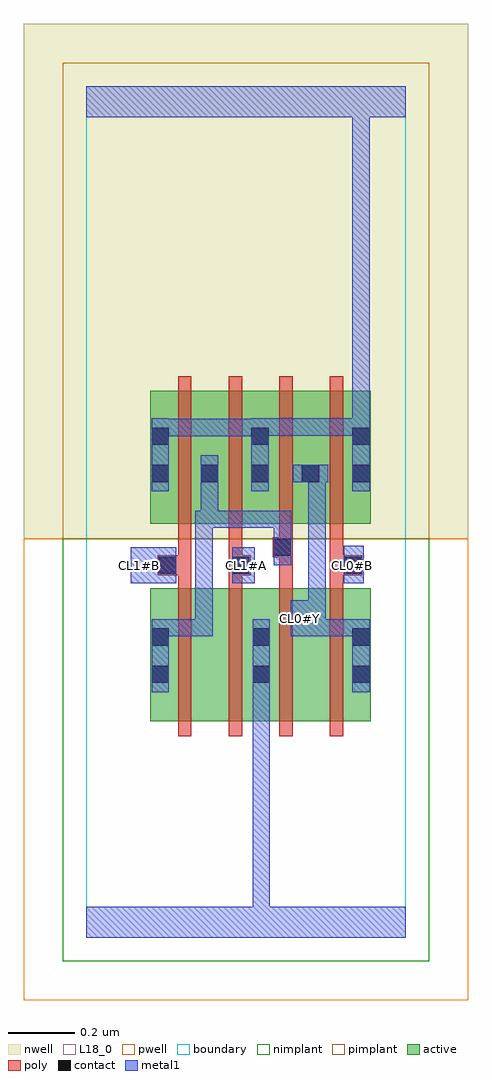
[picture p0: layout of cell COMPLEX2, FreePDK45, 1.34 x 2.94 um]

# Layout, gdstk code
import gdstk
lib = gdstk.Library(unit=1e-6, precision=1e-09)
def R(c, l, rs):  # rectangles x0, y0, x1, y1
    for r in rs: c.add(gdstk.rectangle(r[:2], r[2:], *l))
def A(c, l, x, y, w, h, nx, ny, dx, dy):  # array of equal rectangles
    R(c, l, [(x+i*dx, y+j*dy, x+i*dx+w, y+j*dy+h) for i in range(nx) for j in range(ny)])
active = (1, 0)
pwell = (2, 0)
nwell = (3, 0)
nimplant = (4, 0)
pimplant = (5, 0)
poly = (9, 0)
contact = (10, 0)
metal1 = (11, 0)
L18_0 = (18, 0)
boundary = (235, 0)

complex2 = lib.new_cell('COMPLEX2')
A(complex2, active, 0.34, 1.244, 0.06, 0.4, 4, 1, 0.152, 0)
A(complex2, active, 0.34, 1.244, 0.212, 0.4, 3, 1, 0.152, 0)
R(complex2, active, [(0.192,0.65,0.372,1.05), (0.372,0.65,0.556,1.05), (0.496,0.65,0.676,1.05), (0.676,0.65,0.856,1.05), (0.192,0.756,0.252,1.05), (0.496,0.756,0.556,0.934), (0.796,0.756,0.856,1.05), (0.192,1.244,0.252,1.644), (0.192,1.244,0.4,1.644)])
R(complex2, pwell, [(-0.188,-0.188,1.148,1.2)])
R(complex2, nwell, [(-0.188,1.2,1.148,2.748)])
R(complex2, nimplant, [(-0.072,-0.072,1.032,1.2)])
R(complex2, pimplant, [(-0.072,1.2,1.032,2.632)])
A(complex2, poly, 0.276, 0.606, 0.04, 0.488, 4, 2, 0.152, 0.594)
R(complex2, poly, [(0.276,1.054,0.316,1.13), (0.428,1.054,0.468,1.13), (0.58,1.054,0.62,1.184), (0.732,1.054,0.772,1.13), (0.214,1.09,0.316,1.15), (0.276,1.09,0.316,1.13), (0.276,1.09,0.316,1.13), (0.428,1.09,0.494,1.15), (0.732,1.09,0.772,1.13), (0.732,1.09,0.772,1.13), (0.732,1.09,0.83,1.15), (0.276,1.11,0.316,1.24), (0.428,1.11,0.468,1.24), (0.428,1.11,0.468,1.15), (0.428,1.11,0.468,1.15), (0.732,1.11,0.772,1.24), (0.56,1.144,0.62,1.204), (0.58,1.144,0.62,1.184), (0.58,1.144,0.62,1.184), (0.58,1.164,0.62,1.24)])
A(complex2, contact, 0.344, 1.37, 0.052, 0.052, 4, 1, 0.152, 0)
R(complex2, contact, [(0.196,0.766,0.248,0.818), (0.5,0.766,0.552,0.818), (0.8,0.766,0.852,0.818), (0.196,0.878,0.248,0.93), (0.5,0.878,0.552,0.93), (0.8,0.878,0.852,0.93), (0.218,1.094,0.27,1.146), (0.438,1.094,0.49,1.146), (0.774,1.094,0.826,1.146), (0.564,1.148,0.616,1.2), (0.196,1.37,0.248,1.422), (0.196,1.482,0.248,1.534), (0.496,1.482,0.548,1.534), (0.8,1.482,0.852,1.534)])
R(complex2, metal1, [(0,0,0.96,0.092), (0.5,0.04,0.552,0.092), (0.5,0.04,0.552,0.092), (0.5,0.04,0.552,0.092), (0.5,0.04,0.552,0.092), (0.5,0.04,0.552,0.092), (0.5,0.04,0.552,0.092), (0.5,0.04,0.552,0.092), (0.5,0.04,0.552,0.092), (0.5,0.04,0.552,0.092), (0.5,0.04,0.552,0.092), (0.5,0.04,0.552,0.092), (0.5,0.04,0.552,0.092), (0.5,0.04,0.552,0.79), (0.196,0.738,0.248,0.958), (0.5,0.738,0.552,0.958), (0.8,0.738,0.852,0.958), (0.196,0.906,0.248,0.958), (0.196,0.906,0.248,0.958), (0.196,0.906,0.38,0.958), (0.328,0.906,0.38,0.958), (0.328,0.906,0.38,0.958), (0.328,0.906,0.38,0.958), (0.328,0.906,0.38,1.284), (0.614,0.906,0.72,1.014), (0.668,0.906,0.852,0.958), (0.8,0.906,0.852,0.958), (0.8,0.906,0.852,0.958), (0.8,0.906,0.852,0.958), (0.8,0.906,0.852,0.958), (0.668,0.962,0.72,1.422), (0.134,1.066,0.27,1.174), (0.438,1.066,0.506,1.174), (0.774,1.066,0.834,1.178), (0.564,1.12,0.616,1.284), (0.328,1.232,0.396,1.284), (0.344,1.232,0.506,1.284), (0.344,1.232,0.396,1.394), (0.454,1.232,0.506,1.284), (0.454,1.232,0.506,1.284), (0.454,1.232,0.506,1.284), (0.454,1.232,0.616,1.284), (0.196,1.342,0.248,1.562), (0.344,1.342,0.396,1.45), (0.496,1.342,0.548,1.562), (0.8,1.342,0.852,1.562), (0.62,1.37,0.728,1.422), (0.668,1.37,0.72,1.422), (0.668,1.37,0.72,1.422), (0.196,1.508,0.38,1.56), (0.328,1.508,0.38,1.56), (0.328,1.508,0.38,1.56), (0.328,1.508,0.38,1.56), (0.328,1.508,0.49,1.56), (0.438,1.508,0.49,1.56), (0.438,1.508,0.548,1.56), (0.496,1.51,0.67,1.562), (0.618,1.51,0.67,1.562), (0.618,1.51,0.67,1.562), (0.618,1.51,0.67,1.562), (0.618,1.51,0.852,1.562), (0.8,1.51,0.852,1.562), (0.8,1.51,0.852,1.562), (0.8,1.51,0.852,1.562), (0.8,1.51,0.852,1.562), (0.8,1.51,0.852,2.52), (0,2.468,0.96,2.56), (0.8,2.468,0.852,2.52), (0.8,2.468,0.852,2.52), (0.8,2.468,0.852,2.52), (0.8,2.468,0.852,2.52), (0.8,2.468,0.852,2.52), (0.8,2.468,0.852,2.52), (0.8,2.468,0.852,2.52), (0.8,2.468,0.852,2.52), (0.8,2.468,0.852,2.52), (0.8,2.468,0.852,2.52), (0.8,2.468,0.852,2.52), (0.8,2.468,0.852,2.52), (0.8,2.468,0.852,2.52), (0.8,2.468,0.852,2.52)])
A(complex2, L18_0, 0.134, 1.094, 0.052, 0.052, 3, 1, 0.32, 0)
R(complex2, L18_0, [(0,0,0.96,0.092), (0.5,0.04,0.552,0.092), (0.5,0.04,0.552,0.092), (0.5,0.04,0.552,0.092), (0.5,0.04,0.552,0.092), (0.5,0.04,0.552,0.092), (0.5,0.04,0.552,0.092), (0.5,0.04,0.552,0.092), (0.5,0.04,0.552,0.092), (0.5,0.04,0.552,0.092), (0.5,0.04,0.552,0.092), (0.5,0.04,0.552,0.092), (0.5,0.04,0.552,0.092), (0.5,0.04,0.552,0.79), (0.5,0.738,0.552,0.958), (0.8,0.738,0.852,0.958), (0.614,0.906,0.72,1.014), (0.668,0.906,0.852,0.958), (0.8,0.906,0.852,0.958), (0.8,0.906,0.852,0.958), (0.8,0.906,0.852,0.958), (0.8,0.906,0.852,0.958), (0.614,0.934,0.666,0.986), (0.668,0.962,0.72,1.422), (0.134,1.066,0.27,1.174), (0.438,1.066,0.506,1.174), (0.774,1.066,0.834,1.178), (0.196,1.342,0.248,1.562), (0.496,1.342,0.548,1.562), (0.8,1.342,0.852,1.562), (0.62,1.37,0.728,1.422), (0.668,1.37,0.72,1.422), (0.668,1.37,0.72,1.422), (0.196,1.508,0.38,1.56), (0.328,1.508,0.38,1.56), (0.328,1.508,0.38,1.56), (0.328,1.508,0.38,1.56), (0.328,1.508,0.49,1.56), (0.438,1.508,0.49,1.56), (0.438,1.508,0.548,1.56), (0.496,1.51,0.67,1.562), (0.618,1.51,0.67,1.562), (0.618,1.51,0.67,1.562), (0.618,1.51,0.67,1.562), (0.618,1.51,0.852,1.562), (0.8,1.51,0.852,1.562), (0.8,1.51,0.852,1.562), (0.8,1.51,0.852,1.562), (0.8,1.51,0.852,1.562), (0.8,1.51,0.852,2.52), (0,2.468,0.96,2.56), (0.8,2.468,0.852,2.52), (0.8,2.468,0.852,2.52), (0.8,2.468,0.852,2.52), (0.8,2.468,0.852,2.52), (0.8,2.468,0.852,2.52), (0.8,2.468,0.852,2.52), (0.8,2.468,0.852,2.52), (0.8,2.468,0.852,2.52), (0.8,2.468,0.852,2.52), (0.8,2.468,0.852,2.52), (0.8,2.468,0.852,2.52), (0.8,2.468,0.852,2.52), (0.8,2.468,0.852,2.52), (0.8,2.468,0.852,2.52)])
R(complex2, boundary, [(0,0,0.96,2.56)])
complex2.add(gdstk.Label('CL0#B', (0.8,1.12), layer=11, texttype=0))
complex2.add(gdstk.Label('CL0#Y', (0.64,0.96), layer=11, texttype=0))
complex2.add(gdstk.Label('CL1#A', (0.48,1.12), layer=11, texttype=0))
complex2.add(gdstk.Label('CL1#B', (0.16,1.12), layer=11, texttype=0))

lib.write_gds('COMPLEX2.gds')
